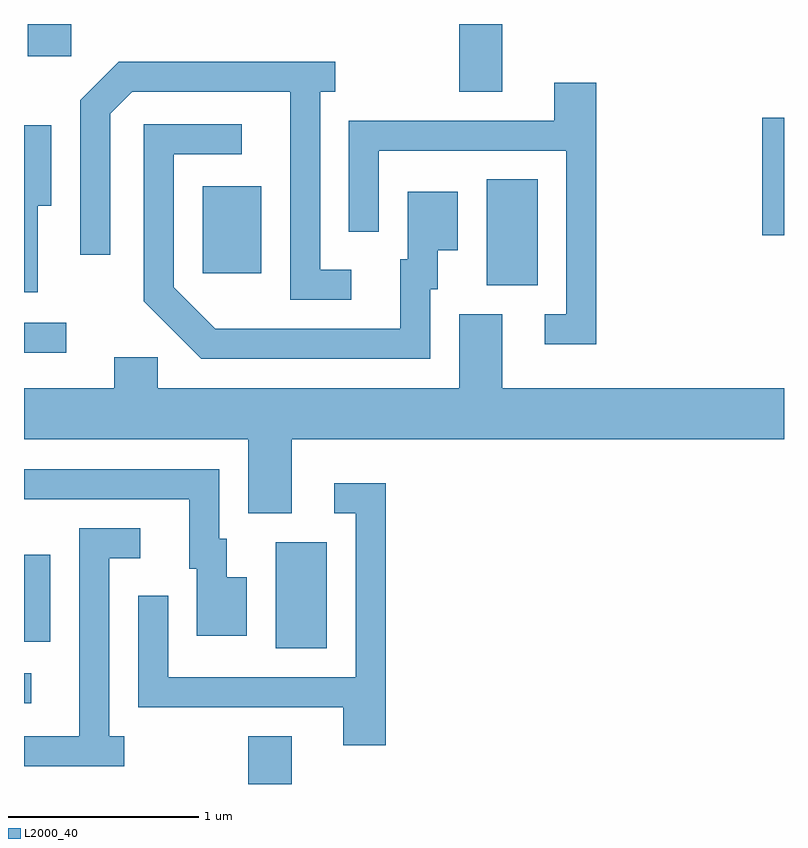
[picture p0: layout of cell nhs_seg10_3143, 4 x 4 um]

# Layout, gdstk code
import gdstk
lib = gdstk.Library(unit=1e-6, precision=1e-09)
def R(c, l, rs):  # rectangles x0, y0, x1, y1
    for r in rs: c.add(gdstk.rectangle(r[:2], r[2:], *l))
def P(c, l, *ps):  # polygons
    for p in ps: c.add(gdstk.Polygon(p, *l))
L2000_40 = (2000, 40)

nhs_seg10_3143 = lib.new_cell('nhs_seg10_3143')
R(nhs_seg10_3143, L2000_40, [(278.791,2136.522,279.019,2136.774), (277.611,2136.946,277.648,2137.104), (278.936,2137.236,279.204,2137.794), (277.611,2137.271,277.749,2137.729), (277.611,2138.791,277.833,2138.949), (280.046,2139.146,280.314,2139.704), (278.551,2139.211,278.859,2139.669), (281.496,2139.411,281.611,2140.029), (279.901,2140.166,280.129,2140.522), (277.631,2140.351,277.859,2140.522)])
P(nhs_seg10_3143, L2000_40, [(279.333,2139.229),(279.169,2139.229),(279.169,2140.166),(279.248,2140.166),(279.248,2140.324),(278.109,2140.324),(277.906,2140.122),(277.906,2139.308),(278.064,2139.308),(278.064,2140.049),(278.182,2140.166),(279.011,2140.166),(279.011,2139.071),(279.333,2139.071)],
  [(280.624,2140.214),(280.401,2140.214),(280.401,2140.014),(279.321,2140.014),(279.321,2139.428),(279.479,2139.428),(279.479,2139.856),(280.466,2139.856),(280.466,2138.994),(280.353,2138.994),(280.353,2138.836),(280.624,2138.836)],
  [(279.749,2139.126),(279.789,2139.126),(279.789,2139.331),(279.894,2139.331),(279.894,2139.639),(279.631,2139.639),(279.631,2139.284),(279.591,2139.284),(279.591,2138.919),(278.617,2138.919),(278.399,2139.137),(278.399,2139.836),(278.758,2139.836),(278.758,2139.994),(278.241,2139.994),(278.241,2139.064),(278.544,2138.761),(279.749,2138.761)],
  [(277.684,2139.566),(277.754,2139.566),(277.754,2139.989),(277.611,2139.989),(277.611,2139.111),(277.684,2139.111)],
  [(279.019,2138.336),(281.611,2138.336),(281.611,2138.604),(280.129,2138.604),(280.129,2138.994),(279.901,2138.994),(279.901,2138.604),(278.314,2138.604),(278.314,2138.769),(278.086,2138.769),(278.086,2138.604),(277.611,2138.604),(277.611,2138.336),(278.791,2138.336),(278.791,2137.946),(279.019,2137.946)],
  [(278.784,2137.609),(278.679,2137.609),(278.679,2137.814),(278.639,2137.814),(278.639,2138.179),(277.611,2138.179),(277.611,2138.021),(278.481,2138.021),(278.481,2137.656),(278.521,2137.656),(278.521,2137.301),(278.784,2137.301)],
  [(279.514,2138.104),(279.243,2138.104),(279.243,2137.946),(279.356,2137.946),(279.356,2137.084),(278.369,2137.084),(278.369,2137.513),(278.211,2137.513),(278.211,2136.926),(279.291,2136.926),(279.291,2136.726),(279.514,2136.726)],
  [(278.138,2136.774),(278.059,2136.774),(278.059,2137.711),(278.223,2137.711),(278.223,2137.869),(277.901,2137.869),(277.901,2136.774),(277.611,2136.774),(277.611,2136.616),(278.138,2136.616)])

lib.write_gds('nhs_seg10_3143.gds')
